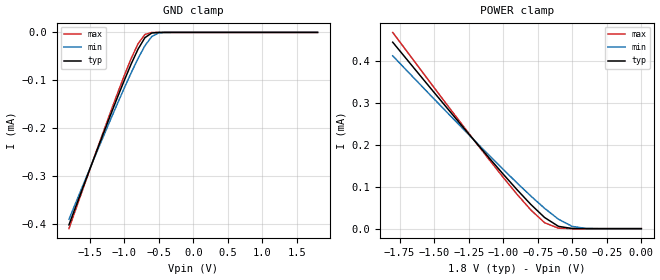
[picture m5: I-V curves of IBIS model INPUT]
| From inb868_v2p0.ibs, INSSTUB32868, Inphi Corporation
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|   Model input
[Model]   INPUT
Model_type   Input
Vinl=   0.6300V
Vinh=   1.1700V
C_comp   1.5000pF   1.4950pF   1.5050pF
|[Model Spec]
|Vinl   0.630   0.5950   0.665
|Vinh   1.170   1.1050   1.235
[Temperature Range]   25.0000   70.0000   0.000
[Voltage Range]   1.8000V   1.7000V   1.9000V
[GND_clamp]
| voltage   I(typ)   I(min)   I(max)
-1.8V     -401.3uA   -389.7uA   -409.2uA
-1.3V     -210.3uA   -216.4uA   -206.6uA
-1V       -100.5uA   -116.3uA   -90.53uA
-900mV    -66.2uA    -84.54uA   -54.88uA
-800mV    -34.99uA   -54.51uA   -23.73uA
-700mV    -10.98uA   -27.84uA   -4.282uA
-600mV    -1.224uA   -8.534uA   -244nA
-500mV    -73.08nA   -1.145uA   -10.47nA
1.8V      10.84pA    123pA      10.2pA
[POWER_clamp]
| voltage   I(typ)   I(min)   I(max)
-1.8V     444.7uA    412.2uA    468.1uA
-1.3V     245.7uA    241.3uA    249.3uA
-1V       130uA      141.4uA    122.3uA
-800mV    57.78uA    77.86uA    44.57uA
-700mV    26.5uA     48.36uA    14.08uA
-600mV    5.47uA     22.53uA    1.144uA
-500mV    328.3nA    5.329uA    37.49nA
-400mV    13.55nA    478nA      1.143nA
0V        10.84pA    14.36pA    11.4pA
